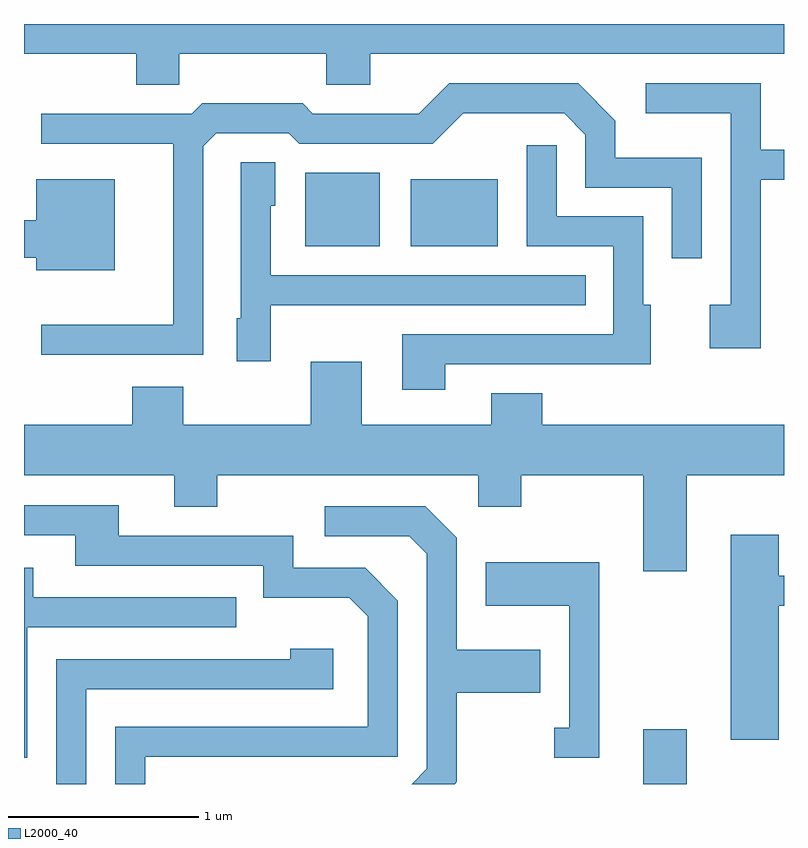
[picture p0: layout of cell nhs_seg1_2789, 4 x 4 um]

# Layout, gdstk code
import gdstk
lib = gdstk.Library(unit=1e-6, precision=1e-09)
def R(c, l, rs):  # rectangles x0, y0, x1, y1
    for r in rs: c.add(gdstk.rectangle(r[:2], r[2:], *l))
def P(c, l, *ps):  # polygons
    for p in ps: c.add(gdstk.Polygon(p, *l))
L2000_40 = (2000, 40)

nhs_seg1_2789 = lib.new_cell('nhs_seg1_2789')
R(nhs_seg1_2789, L2000_40, [(272.871,915.712,273.099,915.999), (271.091,918.541,271.484,918.929), (271.646,918.541,272.104,918.894)])
P(nhs_seg1_2789, L2000_40, [(271.201,919.391),(271.434,919.391),(271.434,919.556),(273.611,919.556),(273.611,919.712),(269.611,919.712),(269.611,919.556),(270.201,919.556),(270.201,919.391),(270.429,919.391),(270.429,919.556),(271.201,919.556)],
  [(273.489,918.891),(273.611,918.891),(273.611,919.049),(273.489,919.049),(273.489,919.399),(272.883,919.399),(272.883,919.241),(273.331,919.241),(273.331,918.234),(273.221,918.234),(273.221,918.006),(273.489,918.006)],
  [(270.554,919.069),(270.622,919.136),(271.004,919.136),(271.059,919.081),(271.762,919.081),(271.922,919.241),(272.454,919.241),(272.566,919.129),(272.566,918.851),(273.021,918.851),(273.021,918.478),(273.179,918.478),(273.179,919.009),(272.724,919.009),(272.724,919.202),(272.527,919.399),(271.849,919.399),(271.689,919.239),(271.132,919.239),(271.077,919.294),(270.549,919.294),(270.494,919.239),(269.703,919.239),(269.703,919.081),(270.396,919.081),(270.396,918.129),(269.703,918.129),(269.703,917.971),(270.554,917.971)],
  [(271.829,917.921),(272.909,917.921),(272.909,918.234),(272.869,918.234),(272.869,918.699),(272.414,918.699),(272.414,919.073),(272.256,919.073),(272.256,918.541),(272.711,918.541),(272.711,918.079),(271.601,918.079),(271.601,917.786),(271.829,917.786)],
  [(270.909,918.231),(272.568,918.231),(272.568,918.389),(270.909,918.389),(270.909,918.756),(270.934,918.756),(270.934,918.984),(270.751,918.984),(270.751,918.164),(270.731,918.164),(270.731,917.936),(270.909,917.936)],
  [(270.089,918.894),(269.676,918.894),(269.676,918.679),(269.611,918.679),(269.611,918.481),(269.676,918.481),(269.676,918.416),(270.089,918.416)],
  [(273.099,917.336),(273.611,917.336),(273.611,917.604),(272.339,917.604),(272.339,917.769),(272.071,917.769),(272.071,917.604),(271.389,917.604),(271.389,917.934),(271.121,917.934),(271.121,917.604),(270.449,917.604),(270.449,917.804),(270.181,917.804),(270.181,917.604),(269.611,917.604),(269.611,917.336),(270.401,917.336),(270.401,917.171),(270.629,917.171),(270.629,917.336),(272.001,917.336),(272.001,917.171),(272.229,917.171),(272.229,917.336),(272.871,917.336),(272.871,916.831),(273.099,916.831)],
  [(270.249,915.856),(271.579,915.856),(271.579,916.677),(271.407,916.849),(271.029,916.849),(271.029,917.019),(270.109,917.019),(270.109,917.179),(269.611,917.179),(269.611,917.021),(269.881,917.021),(269.881,916.861),(270.871,916.861),(270.871,916.691),(271.324,916.691),(271.421,916.594),(271.421,916.014),(270.091,916.014),(270.091,915.712),(270.249,915.712)],
  [(271.889,915.724),(271.889,916.191),(272.329,916.191),(272.329,916.419),(271.889,916.419),(271.889,917.007),(271.722,917.174),(271.193,917.174),(271.193,917.016),(271.639,917.016),(271.731,916.924),(271.731,915.792),(271.652,915.712),(271.877,915.712)],
  [(273.584,916.651),(273.611,916.651),(273.611,916.809),(273.584,916.809),(273.584,917.024),(273.331,917.024),(273.331,915.946),(273.584,915.946)],
  [(272.639,916.879),(272.041,916.879),(272.041,916.651),(272.481,916.651),(272.481,916.009),(272.403,916.009),(272.403,915.851),(272.639,915.851)],
  [(269.629,916.536),(270.728,916.536),(270.728,916.694),(269.659,916.694),(269.659,916.849),(269.611,916.849),(269.611,915.851),(269.629,915.851)],
  [(269.939,916.211),(271.239,916.211),(271.239,916.424),(271.011,916.424),(271.011,916.369),(269.781,916.369),(269.781,915.712),(269.939,915.712)])

lib.write_gds('nhs_seg1_2789.gds')
